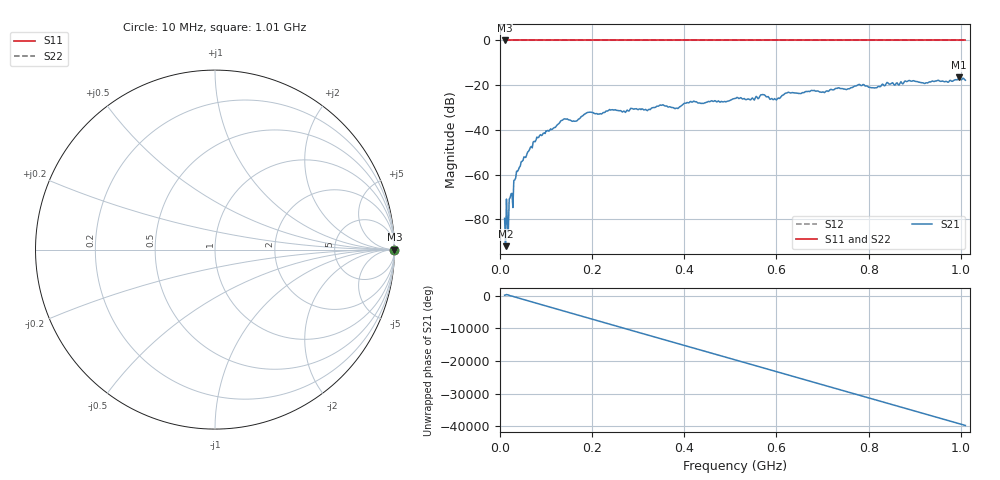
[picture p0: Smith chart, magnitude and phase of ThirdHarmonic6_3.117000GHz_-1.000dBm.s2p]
! 8/17/2025 9:14:29 AM
! C:\ANRITSUVNA\TEMP\TEMP.S2P
! CHANNEL.1
! TR.MEASUREMENT
! RAW.DATA
! RF.CORRECTION.OFF
! AVERAGING.OFF
! IF.BANDWIDTH: 5KHZ
! SWEEPTYPE:  FREQ.SWEEP(Linear)
! Reference Plane Port Info
! PORT:  PORT1  PORT2
! DISTANCE:  0  m  0  m
! TIME:  0  s  0  s
! PHASE.OFFSET:  0  deg.  0  deg.
! LOSS:  0  dB  0  dB
! REF.LOSS:  0  dB  0  dB
! REF.FREQ:  0  Hz  0  Hz
! Power Info
! POWER:  -20  dBm  -20  dBm
! EFF.POWER:  -20  dBm  -20  dBm
! SOURCE.ATTEN:  0  dB  0  dB
! TEST.ATTEN:  0  dB  0  dB
# GHZ S RI R 50.0
! FREQ.GHZ  S11RE  S11IM  S21RE  S21IM  S12RE  S12IM  S22RE  S22IM
!; PortSelection: Port_12
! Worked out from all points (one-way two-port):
!   501 points, 10 MHz to 1.01 GHz, reference 50 ohm
!   highest |S21| = -16.51 dB at 996 MHz (marker M1); lowest = -92.1 dB at 12 MHz (marker M2)
!   lowest |S11| = 0.0 dB at 10 MHz (marker M3)
!   |S11| at or under -10 dB: nowhere
!   |S22| runs from 0.0 to 0.0 dB; largest |S21 - S12| = 1.1
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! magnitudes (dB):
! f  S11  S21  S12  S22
! 10 MHz  0.0  -79.6  0.0  0.0
! 12 MHz  0.0  -92.1  0.0  0.0
! 20 MHz  0.0  -71.0  0.0  0.0
! 30 MHz  0.0  -62.7  0.0  0.0
! 34 MHz  0.0  -61.5  0.0  0.0
! 40 MHz  0.0  -57.8  0.0  0.0
! 76 MHz  0.0  -45.4  0.0  0.0
! 136 MHz  0.0  -35.6  0.0  0.0
! 162 MHz  0.0  -36.2  0.0  0.0
! 178 MHz  0.0  -33.9  0.0  0.0
! 344 MHz  0.0  -29.4  0.0  0.0
! 384 MHz  0.0  -30.3  0.0  0.0
! 416 MHz  0.0  -27.6  0.0  0.0
! 510 MHz  0.0  -26.0  0.0  0.0
! 548 MHz  0.0  -25.8  0.0  0.0
! 570 MHz  0.0  -24.2  0.0  0.0
! 596 MHz  0.0  -26.0  0.0  0.0
! 622 MHz  0.0  -23.5  0.0  0.0
! 678 MHz  0.0  -22.4  0.0  0.0
! 844 MHz  0.0  -19.4  0.0  0.0
! 996 MHz  0.0  -16.5  0.0  0.0
! 1.01 GHz  0.0  -17.8  0.0  0.0
